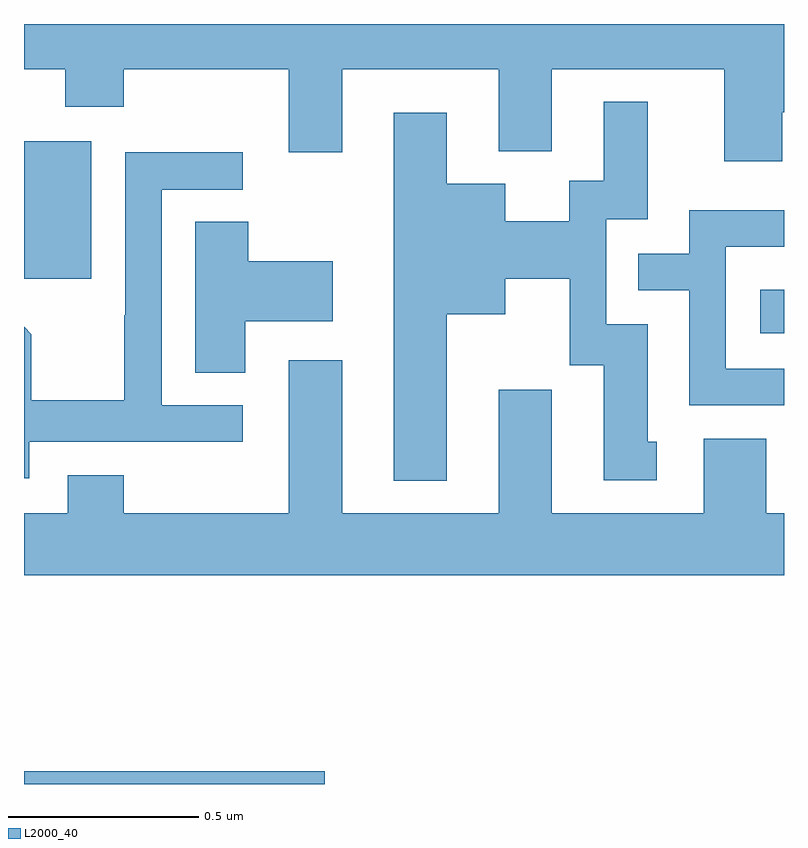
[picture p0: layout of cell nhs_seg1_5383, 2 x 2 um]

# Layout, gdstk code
import gdstk
lib = gdstk.Library(unit=1e-6, precision=1e-09)
def R(c, l, rs):  # rectangles x0, y0, x1, y1
    for r in rs: c.add(gdstk.rectangle(r[:2], r[2:], *l))
def P(c, l, *ps):  # polygons
    for p in ps: c.add(gdstk.Polygon(p, *l))
L2000_40 = (2000, 40)

nhs_seg1_5383 = lib.new_cell('nhs_seg1_5383')
R(nhs_seg1_5383, L2000_40, [(178,535.199,178.792,535.232), (179.937,536.385,180,536.5), (178,536.529,178.177,536.89)])
P(nhs_seg1_5383, L2000_40, [(179.995,536.967),(180,536.967),(180,537.199),(178,537.199),(178,537.08),(178.108,537.08),(178.108,536.981),(178.263,536.981),(178.263,537.08),(178.697,537.08),(178.697,536.862),(178.837,536.862),(178.837,537.08),(179.249,537.08),(179.249,536.864),(179.389,536.864),(179.389,537.08),(179.843,537.08),(179.843,536.838),(179.995,536.838)],
  [(179.113,536.435),(179.266,536.435),(179.266,536.528),(179.436,536.528),(179.436,536.301),(179.525,536.301),(179.525,535.998),(179.665,535.998),(179.665,536.1),(179.641,536.1),(179.641,536.409),(179.532,536.409),(179.532,536.685),(179.641,536.685),(179.641,536.995),(179.525,536.995),(179.525,536.786),(179.435,536.786),(179.435,536.68),(179.266,536.68),(179.266,536.779),(179.113,536.779),(179.113,536.965),(178.973,536.965),(178.973,535.997),(179.113,535.997)],
  [(178.014,536.1),(178.576,536.1),(178.576,536.196),(178.362,536.196),(178.362,536.763),(178.576,536.763),(178.576,536.862),(178.266,536.862),(178.266,536.432),(178.264,536.432),(178.264,536.209),(178.019,536.209),(178.019,536.383),(178,536.402),(178,536.003),(178.014,536.003)],
  [(180,536.292),(179.847,536.292),(179.847,536.613),(180,536.613),(180,536.709),(179.751,536.709),(179.751,536.595),(179.617,536.595),(179.617,536.499),(179.751,536.499),(179.751,536.196),(180,536.196)],
  [(178.582,536.417),(178.813,536.417),(178.813,536.575),(178.59,536.575),(178.59,536.678),(178.451,536.678),(178.451,536.281),(178.582,536.281)],
  [(180,535.912),(179.953,535.912),(179.953,536.107),(179.789,536.107),(179.789,535.912),(179.389,535.912),(179.389,536.236),(179.249,536.236),(179.249,535.912),(178.837,535.912),(178.837,536.314),(178.697,536.314),(178.697,535.912),(178.263,535.912),(178.263,536.011),(178.115,536.011),(178.115,535.912),(178,535.912),(178,535.748),(180,535.748)])

lib.write_gds('nhs_seg1_5383.gds')
